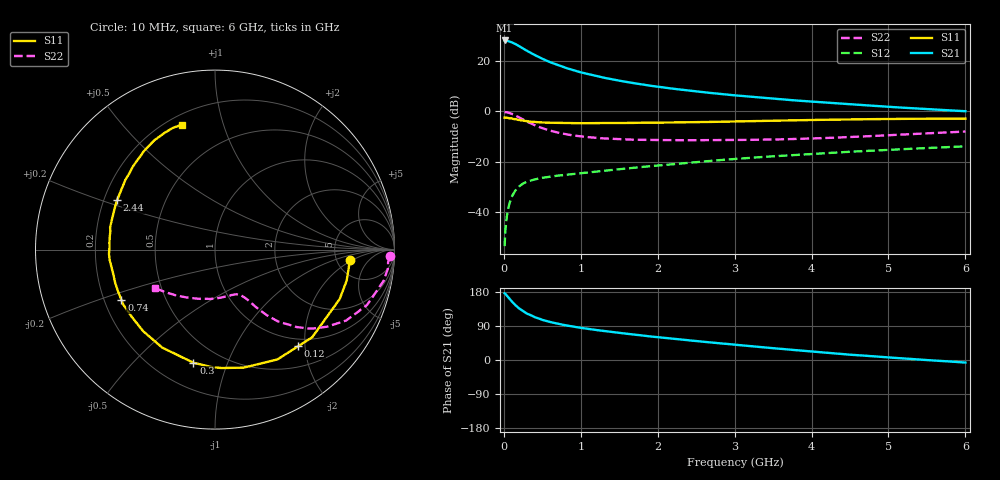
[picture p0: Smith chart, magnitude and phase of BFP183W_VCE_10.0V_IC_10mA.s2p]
! Infineon Technologies  Discrete & RF Semiconductors
! BFP183W
! VCE = 10.0V,  IC =  10 mA
! Common Emitter S-Parameters:  Jan 2016
# GHz  S  MA  R  50
!  f  S11  S21  S12  S22
! GHz  MAG  ANG  MAG  ANG  MAG  ANG  MAG  ANG
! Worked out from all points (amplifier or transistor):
!   210 points, 10 MHz to 6 GHz, reference 50 ohm
!   highest |S21| = 28.2 dB at 10 MHz (marker M1)
!   |S21| within 3 dB of that: start of sweep to 239.8 MHz
!   unconditionally stable (mu >= 1): 1.444 GHz to 5.471 GHz
!   at 185 MHz: K = 0.22, MSG = 28.2 dB, |S12| = -30.3 dB
!   at 1.52 GHz: K = 1.02, MAG = 16.6 dB, |S12| = -22.9 dB
!   at 6 GHz: K = 0.98, MSG = 7.0 dB, |S12| = -13.9 dB
!   S11 on the Smith chart (normalised r, x): 10 MHz: 6.68, -1.71; 120 MHz: 0.86, -1.87; 300 MHz: 0.36, -0.76; 740 MHz: 0.27, -0.23; 2.44 GHz: 0.25, +0.22; 6 GHz: 0.25, +0.74
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0.01  0.7538 -4.2  25.72 175.9  0.0021 85.1  0.975 -2.0
0.02  0.7521 -8.7  25.69 174.4  0.0044 82.0  0.967 -4.2
0.03  0.7534 -13.4  25.64 172.0  0.0063 80.8  0.9692 -6.3
0.05  0.7472 -21.7  25.21 166.9  0.0105 78.3  0.9555 -10.5
0.1  0.7292 -42.1  23.78 155.3  0.0197 69.0  0.9017 -20.0
0.12  0.7104 -49.2  22.93 151.2  0.0225 65.3  0.8716 -23.2
0.15  0.7039 -60.4  21.9 144.6  0.0268 61.2  0.8318 -28.3
0.2  0.6769 -76.4  19.75 135.8  0.0324 55.4  0.757 -34.6
0.24  0.6606 -87.0  18.2 130.2  0.036 51.5  0.7026 -38.7
0.3  0.6417 -100.8  16 122.5  0.0401 47.2  0.6266 -43.5
0.4  0.6201 -118.3  13.21 113.1  0.0445 42.4  0.5314 -48.8
0.5  0.6057 -131.3  11.1 105.9  0.0479 40.3  0.4632 -51.8
0.6  0.5962 -141.2  9.523 100.2  0.0506 39.0  0.4153 -53.7
0.74  0.5922 -151.8  7.961 94.2  0.0537 38.5  0.3695 -55.5
1.02  0.5831 -167.0  5.881 84.4  0.0597 39.6  0.3168 -58.1
1.4  0.5875 178.9  4.36 73.9  0.0685 41.9  0.286 -61.7
2.02  0.599 162.4  3.068 59.9  0.0848 44.3  0.2694 -69.9
2.44  0.611 153.2  2.557 51.2  0.0968 44.5  0.2678 -76.7
3.1  0.6352 140.3  2.026 38.6  0.1164 43.6  0.2716 -89.3
4.1  0.6796 124.6  1.531 21.0  0.1461 40.0  0.2931 -111.7
5.1  0.7097 112.7  1.209 5.4  0.1751 35.2  0.3423 -133.0
6  0.7207 104.9  1.01 -6.8  0.2023 30.8  0.3981 -147.6
